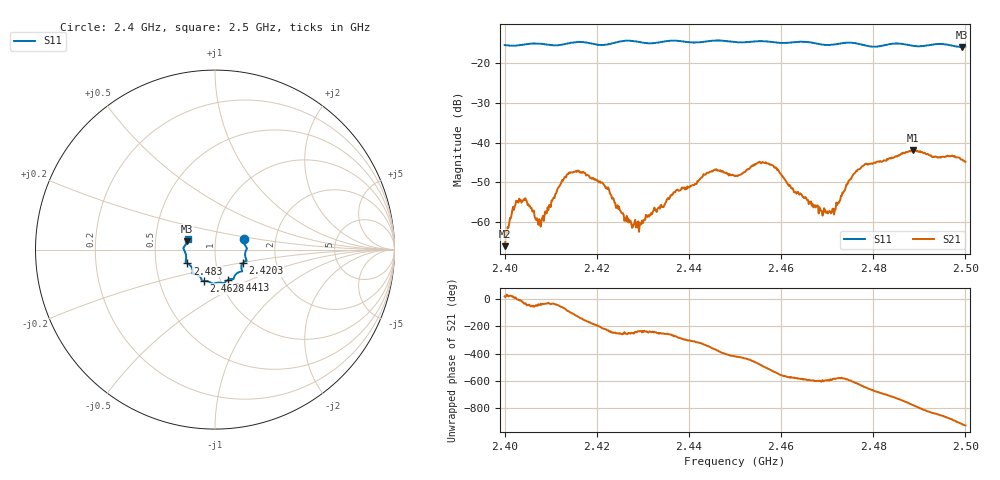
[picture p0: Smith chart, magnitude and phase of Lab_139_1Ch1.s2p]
# Hz S RI R 50
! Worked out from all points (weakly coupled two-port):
!   601 points, 2.4 GHz to 2.5 GHz, reference 50 ohm
!   highest |S21| = -41.98 dB at 2.4887 GHz (marker M1); lowest = -66.2 dB at 2.4 GHz (marker M2)
!   lowest |S11| = -15.8 dB at 2.4992 GHz (marker M3), VSWR 1.39, Z = 36.4 + j3.54 ohm
!   |S11| at or under -10 dB: start of sweep to end of sweep
!   S12 and S22 are empty: the file has one direction only
!   S11 on the Smith chart (normalised r, x): 2.4 GHz: 1.37, +0.16; 2.4203 GHz: 1.35, -0.21; 2.4413 GHz: 1.09, -0.38; 2.4628 GHz: 0.83, -0.30; 2.483 GHz: 0.72, -0.11; 2.5 GHz: 0.73, +0.09
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2.4e9  0.1605 0.0569  0.000466 0.000158  0 0  0 0
2.403e9  0.1671 0.0256  0.00174 -0.000165  0 0  0 0
2.404667e9  0.1741 0.0145  0.00145 -0.00116  0 0  0 0
2.407667e9  0.1777 0.00542  0.000672 -0.000683  0 0  0 0
2.413e9  0.1697 -0.0427  0.00122 -0.00344  0 0  0 0
2.416667e9  0.1761 -0.0614  -0.00333 -0.00257  0 0  0 0
2.420333e9  0.1552 -0.0739  -0.00308 0.000994  0 0  0 0
2.4275e9  0.15 -0.1212  -0.000365 0.000873  0 0  0 0
2.433333e9  0.1081 -0.1484  -0.000579 0.00137  0 0  0 0
2.441333e9  0.0744 -0.168  0.002 0.00227  0 0  0 0
2.4455e9  0.051 -0.1876  0.00448 -0.000508  0 0  0 0
2.45e9  0.0293 -0.1836  0.00195 -0.00321  0 0  0 0
2.456833e9  -0.0158 -0.1888  -0.00442 -0.00322  0 0  0 0
2.462833e9  -0.063 -0.1746  -0.00196 0.0013  0 0  0 0
2.466667e9  -0.0741 -0.1674  -0.000922 0.0013  0 0  0 0
2.471333e9  -0.105 -0.1372  -0.00106 0.001  0 0  0 0
2.476333e9  -0.125 -0.1285  -0.00116 0.00425  0 0  0 0
2.483e9  -0.1547 -0.0768  0.00587 0.0021  0 0  0 0
2.483333e9  -0.157 -0.0759  0.00604 0.00158  0 0  0 0
2.488667e9  -0.1607 -0.0448  0.00448 -0.00659  0 0  0 0
2.499167e9  -0.1548 0.0473  -0.00597 0.00124  0 0  0 0
2.5e9  -0.1526 0.0586  -0.00523 0.00232  0 0  0 0
